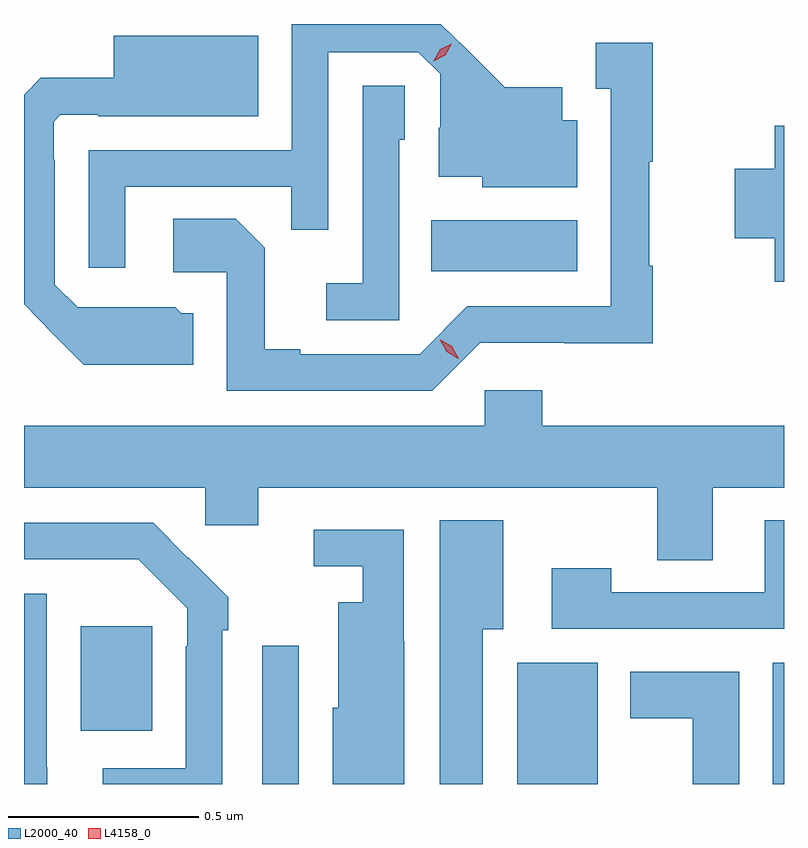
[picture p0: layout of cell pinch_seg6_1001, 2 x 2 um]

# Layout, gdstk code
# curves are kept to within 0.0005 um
import gdstk
lib = gdstk.Library(unit=1e-6, precision=1e-09)
def R(c, l, rs):  # rectangles x0, y0, x1, y1
    for r in rs: c.add(gdstk.rectangle(r[:2], r[2:], *l))
def P(c, l, *ps):  # polygons
    for p in ps: c.add(gdstk.Polygon(p, *l))
L2000_40 = (2000, 40)
L4158_0 = (4158, 0)

pinch_seg6_1001 = lib.new_cell('pinch_seg6_1001')
R(pinch_seg6_1001, L2000_40, [(346.269,933.237,346.365,933.601), (346.94,933.237,347.152,933.556), (347.612,933.237,347.642,933.556), (345.791,933.377,345.979,933.652), (346.714,934.586,347.098,934.72)])
P(pinch_seg6_1001, L2000_40, [(345.909,934.809),(346.345,934.809),(346.345,934.696),(346.443,934.696),(346.443,935.163),(346.68,935.163),(346.737,935.106),(346.737,934.964),(346.733,934.964),(346.733,934.835),(346.848,934.835),(346.848,934.808),(347.098,934.808),(347.098,934.984),(347.059,934.984),(347.059,935.071),(346.907,935.071),(346.739,935.237),(346.347,935.237),(346.347,934.905),(345.813,934.905),(345.813,934.596),(345.909,934.596)],
  [(346.087,934.476),(346.056,934.476),(346.04,934.492),(345.906,934.492),(345.906,934.491),(345.783,934.491),(345.723,934.551),(345.723,934.88),(345.72,934.88),(345.72,934.98),(345.738,934.998),(345.838,934.998),(345.838,934.994),(346.258,934.994),(346.258,935.206),(345.878,935.206),(345.878,935.095),(345.686,935.095),(345.642,935.051),(345.642,934.499),(345.799,934.34),(346.087,934.34)],
  [(346.842,934.398),(347.064,934.398),(347.064,934.397),(347.297,934.397),(347.297,934.601),(347.287,934.601),(347.287,934.875),(347.297,934.875),(347.297,935.188),(347.147,935.188),(347.147,935.067),(347.186,935.067),(347.186,934.494),(346.809,934.494),(346.683,934.368),(346.369,934.368),(346.369,934.381),(346.275,934.381),(346.275,934.648),(346.199,934.724),(346.035,934.724),(346.035,934.584),(346.176,934.584),(346.176,934.272),(346.716,934.272)],
  [(346.629,934.932),(346.644,934.932),(346.644,935.075),(346.533,935.075),(346.533,934.555),(346.437,934.555),(346.437,934.458),(346.629,934.458)],
  [(347.642,934.969),(347.618,934.969),(347.618,934.856),(347.513,934.856),(347.513,934.673),(347.618,934.673),(347.618,934.559),(347.642,934.559)],
  [(347.455,934.016),(347.642,934.016),(347.642,934.18),(347.006,934.18),(347.006,934.273),(346.854,934.273),(346.854,934.18),(345.642,934.18),(345.642,934.016),(346.119,934.016),(346.119,933.918),(346.258,933.918),(346.258,934.016),(347.308,934.016),(347.308,933.826),(347.455,933.826)],
  [(346.849,933.644),(346.903,933.644),(346.903,933.931),(346.736,933.931),(346.736,933.237),(346.849,933.237)],
  [(347.642,933.931),(347.591,933.931),(347.591,933.741),(347.187,933.741),(347.187,933.805),(347.031,933.805),(347.031,933.645),(347.642,933.645)],
  [(346.164,933.641),(346.179,933.641),(346.179,933.729),(346.074,933.834),(346.073,933.833),(345.982,933.924),(345.642,933.924),(345.642,933.828),(345.943,933.828),(346.071,933.699),(346.071,933.599),(346.068,933.599),(346.068,933.279),(345.849,933.279),(345.849,933.237),(346.164,933.237)],
  [(346.642,933.611),(346.641,933.611),(346.641,933.906),(346.404,933.906),(346.404,933.81),(346.533,933.81),(346.533,933.715),(346.469,933.715),(346.469,933.438),(346.454,933.438),(346.454,933.237),(346.642,933.237)],
  [(345.703,933.281),(345.702,933.281),(345.702,933.738),(345.642,933.738),(345.642,933.237),(345.703,933.237)],
  [(347.524,933.532),(347.237,933.532),(347.237,933.41),(347.402,933.41),(347.402,933.237),(347.524,933.237)])
P(pinch_seg6_1001, L4158_0, [(346.72,935.139),(346.72,935.14),(346.737,935.17),(346.768,935.185),(346.768,935.185),(346.768,935.185),(346.751,935.155),(346.72,935.139)],
  [(346.785,934.356),(346.754,934.375),(346.736,934.407),(346.736,934.407),(346.736,934.407),(346.768,934.389),(346.786,934.356),(346.786,934.356)])

lib.write_gds('pinch_seg6_1001.gds')
